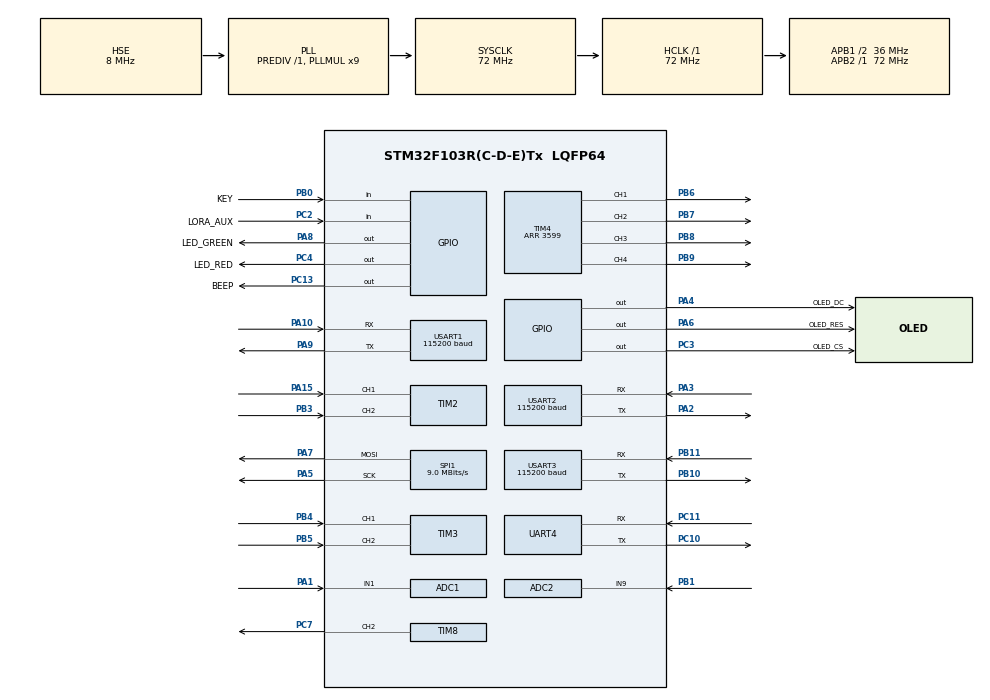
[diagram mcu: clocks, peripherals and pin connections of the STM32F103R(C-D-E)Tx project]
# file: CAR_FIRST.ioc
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ADC1.Channel-0\#ChannelRegularConversion=ADC_CHANNEL_1
ADC1.NbrOfConversionFlag=1
ADC1.Rank-0\#ChannelRegularConversion=1
ADC1.SamplingTime-0\#ChannelRegularConversion=ADC_SAMPLETIME_239CYCLES_5
ADC1.master=1
ADC2.Channel-0\#ChannelRegularConversion=ADC_CHANNEL_9
ADC2.NbrOfConversionFlag=1
ADC2.Rank-0\#ChannelRegularConversion=1
ADC2.SamplingTime-0\#ChannelRegularConversion=ADC_SAMPLETIME_239CYCLES_5
FREERTOS.Tasks01=defaultTask,24,128,StartDefaultTask,Default,NULL,Dynamic,NULL,NULL
FREERTOS.configMAX_PRIORITIES=56
FREERTOS.configTOTAL_HEAP_SIZE=20480
Mcu.Family=STM32F1
Mcu.Name=STM32F103R(C-D-E)Tx
Mcu.Package=LQFP64
NVIC.PriorityGroup=NVIC_PRIORITYGROUP_4
NVIC.TIM6_IRQn=true\:15\:0\:false\:false\:true\:false\:false\:true\:true
NVIC.TimeBase=TIM6_IRQn
NVIC.TimeBaseIP=TIM6
NVIC.UART4_IRQn=true\:5\:0\:false\:false\:true\:true\:true\:true\:true
NVIC.USART1_IRQn=true\:5\:0\:false\:false\:true\:true\:true\:true\:true
NVIC.USART2_IRQn=true\:5\:0\:false\:false\:true\:true\:true\:true\:true
NVIC.USART3_IRQn=true\:5\:0\:false\:false\:true\:true\:true\:true\:true
PA1.Signal=ADCx_IN1
PA10.Mode=Asynchronous
PA10.Signal=USART1_RX
PA13.Mode=Serial_Wire
PA13.Signal=SYS_JTMS-SWDIO
PA14.Mode=Serial_Wire
PA14.Signal=SYS_JTCK-SWCLK
PA15.Signal=S_TIM2_CH1_ETR
PA2.Mode=Asynchronous
PA2.Signal=USART2_TX
PA3.Mode=Asynchronous
PA3.Signal=USART2_RX
PA4.GPIO_Label=OLED_DC
PA4.Signal=GPIO_Output
PA5.Mode=TX_Only_Simplex_Unidirect_Master
PA5.Signal=SPI1_SCK
PA6.GPIO_Label=OLED_RES
PA6.Signal=GPIO_Output
PA7.Mode=TX_Only_Simplex_Unidirect_Master
PA7.Signal=SPI1_MOSI
PA8.GPIO_Label=LED_GREEN
PA8.Signal=GPIO_Output
PA9.Mode=Asynchronous
PA9.Signal=USART1_TX
PB0.GPIO_Label=KEY
PB0.GPIO_PuPd=GPIO_PULLUP
PB0.Signal=GPIO_Input
PB1.Signal=ADCx_IN9
PB10.Mode=Asynchronous
PB10.Signal=USART3_TX
PB11.Mode=Asynchronous
PB11.Signal=USART3_RX
PB3.Signal=S_TIM2_CH2
PB4.Signal=S_TIM3_CH1
PB5.Signal=S_TIM3_CH2
PB6.Signal=S_TIM4_CH1
PB7.Signal=S_TIM4_CH2
PB8.Signal=S_TIM4_CH3
PB9.Signal=S_TIM4_CH4
PC10.Mode=Asynchronous
PC10.Signal=UART4_TX
PC11.Mode=Asynchronous
PC11.Signal=UART4_RX
PC13-TAMPER-RTC.GPIO_Label=BEEP
PC13-TAMPER-RTC.Signal=GPIO_Output
PC2.GPIO_Label=LORA_AUX
PC2.GPIO_PuPd=GPIO_PULLUP
PC2.Signal=GPIO_Input
PC3.GPIO_Label=OLED_CS
PC3.Signal=GPIO_Output
PC4.GPIO_Label=LED_RED
PC4.Signal=GPIO_Output
PC7.Signal=S_TIM8_CH2
PD0-OSC_IN.Mode=HSE-External-Oscillator
PD0-OSC_IN.Signal=RCC_OSC_IN
PD1-OSC_OUT.Mode=HSE-External-Oscillator
PD1-OSC_OUT.Signal=RCC_OSC_OUT
ProjectManager.HeapSize=0x200
ProjectManager.StackSize=0x400
ProjectManager.TargetToolchain=CMake
RCC.ADCPresc=RCC_ADCPCLK2_DIV6
RCC.AHBFreq_Value=72000000
RCC.APB1CLKDivider=RCC_HCLK_DIV2
RCC.APB1Freq_Value=36000000
RCC.APB1TimFreq_Value=72000000
RCC.APB2Freq_Value=72000000
RCC.APB2TimFreq_Value=72000000
RCC.HCLKFreq_Value=72000000
RCC.PLLMUL=RCC_PLL_MUL9
RCC.PLLSourceVirtual=RCC_PLLSOURCE_HSE
RCC.SYSCLKFreq_VALUE=72000000
RCC.SYSCLKSource=RCC_SYSCLKSOURCE_PLLCLK
RCC.USBFreq_Value=72000000
SH.ADCx_IN1.0=ADC1_IN1,IN1
SH.ADCx_IN9.0=ADC2_IN9,IN9
SH.S_TIM2_CH1_ETR.0=TIM2_CH1,Encoder_Interface
SH.S_TIM2_CH2.0=TIM2_CH2,Encoder_Interface
SH.S_TIM3_CH1.0=TIM3_CH1,Encoder_Interface
SH.S_TIM3_CH2.0=TIM3_CH2,Encoder_Interface
SH.S_TIM4_CH1.0=TIM4_CH1,PWM Generation1 CH1
SH.S_TIM4_CH2.0=TIM4_CH2,PWM Generation2 CH2
SH.S_TIM4_CH3.0=TIM4_CH3,PWM Generation3 CH3
SH.S_TIM4_CH4.0=TIM4_CH4,PWM Generation4 CH4
SH.S_TIM8_CH2.0=TIM8_CH2,PWM Generation2 CH2
SPI1.BaudRatePrescaler=SPI_BAUDRATEPRESCALER_8
SPI1.CLKPhase=SPI_PHASE_2EDGE
SPI1.CLKPolarity=SPI_POLARITY_HIGH
SPI1.CalculateBaudRate=9.0 MBits/s
SPI1.Direction=SPI_DIRECTION_2LINES
SPI1.Mode=SPI_MODE_MASTER
SPI1.VirtualType=VM_MASTER
TIM2.EncoderMode=TIM_ENCODERMODE_TI12
TIM3.EncoderMode=TIM_ENCODERMODE_TI12
TIM4.AutoReloadPreload=TIM_AUTORELOAD_PRELOAD_ENABLE
TIM4.Channel-PWM\ Generation1\ CH1=TIM_CHANNEL_1
TIM4.Channel-PWM\ Generation2\ CH2=TIM_CHANNEL_2
TIM4.Channel-PWM\ Generation3\ CH3=TIM_CHANNEL_3
TIM4.Channel-PWM\ Generation4\ CH4=TIM_CHANNEL_4
TIM4.Period=3599
TIM4.Pulse-PWM\ Generation1\ CH1=0
TIM4.Pulse-PWM\ Generation2\ CH2=0
TIM4.Pulse-PWM\ Generation3\ CH3=0
TIM4.Pulse-PWM\ Generation4\ CH4=0
TIM8.Channel-PWM\ Generation2\ CH2=TIM_CHANNEL_2
TIM8.Period=19999
TIM8.Prescaler=71
TIM8.Pulse-PWM\ Generation2\ CH2=1500
UART4.VirtualMode=Asynchronous
USART1.BaudRate=115200
USART1.VirtualMode=VM_ASYNC
USART2.BaudRate=115200
USART2.VirtualMode=VM_ASYNC
USART3.BaudRate=115200
USART3.VirtualMode=VM_ASYNC
VP_FREERTOS_VS_CMSIS_V2.Mode=CMSIS_V2
VP_SYS_VS_tim6.Mode=TIM6
VP_TIM4_VS_ClockSourceINT.Mode=Internal
board=custom

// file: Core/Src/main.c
/* USER CODE BEGIN Header */
/**
  * 中文说明：本段为工程生成代码说明。
  */
/* USER CODE END Header */
/* 包含文件 ------------------------------------------------------------------*/
#include "main.h"
#include "cmsis_os.h"
#include "adc.h"
#include "spi.h"
#include "tim.h"
#include "usart.h"
#include "gpio.h"

/* 私有包含文件 --------------------------------------------------------------*/
/* USER CODE BEGIN Includes */
#include "ax_beep.h"
#include "ax_delay.h"
#include "ax_encoder.h"
#include "ax_key.h"
#include "ax_led.h"
#include "ax_motor.h"
#include "ax_servo.h"
#include "ax_vin.h"

/* USER CODE END Includes */

/* 私有类型定义 --------------------------------------------------------------*/

/* 私有宏定义 ----------------------------------------------------------------*/

/* 私有宏 --------------------------------------------------------------------*/

/* 私有变量 ------------------------------------------------------------------*/

/* 私有函数声明 --------------------------------------------------------------*/
void SystemClock_Config(void);
void MX_FREERTOS_Init(void);

/* 私有用户代码 --------------------------------------------------------------*/

/**
  * 中文说明：本段为工程生成代码说明。
  */
int main(void)
{

  /* MCU 配置 ------------------------------------------------------------------*/

  /* 复位所有外设，初始化 Flash 接口和 SysTick。 */
  HAL_Init();

  /* 配置系统时钟 */
  SystemClock_Config();

  /* 初始化所有已配置外设 */
  MX_GPIO_Init();
  MX_ADC1_Init();
  MX_ADC2_Init();
  MX_SPI1_Init();
  MX_TIM2_Init();
  MX_TIM3_Init();
  MX_TIM4_Init();
  MX_TIM8_Init();
  MX_UART4_Init();
  MX_USART1_UART_Init();
  MX_USART2_UART_Init();
  MX_USART3_UART_Init();
  /* USER CODE BEGIN 2 */
  AX_DELAY_Init();
  AX_LED_Init();
  AX_BEEP_Init();
  AX_KEY_Init();
  AX_MOTOR_Init();
  AX_SERVO_Init();
  AX_ENCODER_A_Init();
  AX_ENCODER_B_Init();
  AX_VIN_Init();

  /* USER CODE END 2 */

  /* 初始化调度器 */
  osKernelInitialize();  /* Call 初始化函数 for freertos objects (in cmsis_os2.c) */
  MX_FREERTOS_Init();

  /* 启动调度器 */
  osKernelStart();

  /* 调度器接管后不应执行到这里 */

  /* 无限循环 */
  while (1)
  {

  }
}

/**
  * 中文说明：本段为工程生成代码说明。
  */
void SystemClock_Config(void)
{
  RCC_OscInitTypeDef RCC_OscInitStruct = {0};
  RCC_ClkInitTypeDef RCC_ClkInitStruct = {0};
  RCC_PeriphCLKInitTypeDef PeriphClkInit = {0};

  /**
  * 中文说明：本段为工程生成代码说明。
  */
  RCC_OscInitStruct.OscillatorType = RCC_OSCILLATORTYPE_HSE;
  RCC_OscInitStruct.HSEState = RCC_HSE_ON;
  RCC_OscInitStruct.HSEPredivValue = RCC_HSE_PREDIV_DIV1;
  RCC_OscInitStruct.HSIState = RCC_HSI_ON;
  RCC_OscInitStruct.PLL.PLLState = RCC_PLL_ON;
  RCC_OscInitStruct.PLL.PLLSource = RCC_PLLSOURCE_HSE;
  RCC_OscInitStruct.PLL.PLLMUL = RCC_PLL_MUL9;
  if (HAL_RCC_OscConfig(&RCC_OscInitStruct) != HAL_OK)
  {
    Error_Handler();
  }

  /**
  * 中文说明：本段为工程生成代码说明。
  */
  RCC_ClkInitStruct.ClockType = RCC_CLOCKTYPE_HCLK|RCC_CLOCKTYPE_SYSCLK
                              |RCC_CLOCKTYPE_PCLK1|RCC_CLOCKTYPE_PCLK2;
  RCC_ClkInitStruct.SYSCLKSource = RCC_SYSCLKSOURCE_PLLCLK;
  RCC_ClkInitStruct.AHBCLKDivider = RCC_SYSCLK_DIV1;
  RCC_ClkInitStruct.APB1CLKDivider = RCC_HCLK_DIV2;
  RCC_ClkInitStruct.APB2CLKDivider = RCC_HCLK_DIV1;

  if (HAL_RCC_ClockConfig(&RCC_ClkInitStruct, FLASH_LATENCY_2) != HAL_OK)
  {
    Error_Handler();
  }
  PeriphClkInit.PeriphClockSelection = RCC_PERIPHCLK_ADC;
  PeriphClkInit.AdcClockSelection = RCC_ADCPCLK2_DIV6;
  if (HAL_RCCEx_PeriphCLKConfig(&PeriphClkInit) != HAL_OK)
  {
    Error_Handler();
  }
}

/**
  * 中文说明：本段为工程生成代码说明。
  */
void HAL_TIM_PeriodElapsedCallback(TIM_HandleTypeDef *htim)
{
  if (htim->Instance == TIM6)
  {
    HAL_IncTick();
  }
}

/**
  * 中文说明：本段为工程生成代码说明。
  */
void Error_Handler(void)
{
  /* USER CODE BEGIN Error_Handler_Debug */
  /* 用户可在此添加 HAL 错误状态上报逻辑 */
  __disable_irq();
  while (1)
  {
  }
  /* USER CODE END Error_Handler_Debug */
}
#ifdef USE_FULL_ASSERT
/**
  * 中文说明：本段为工程生成代码说明。
  */
void assert_failed(uint8_t *file, uint32_t line)
{
  /* USER CODE BEGIN 6 */
  /* 用户可在此添加文件名和行号上报逻辑，
     例如打印参数错误所在的文件和行号。 */
  /* USER CODE END 6 */
}
#endif /* USE_FULL_ASSERT */

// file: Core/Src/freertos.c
/* USER CODE BEGIN Header */
/**
  ******************************************************************************
  * File Name          : freertos.c
  * Description        : Code for freertos applications
  ******************************************************************************
  * @attention
  *
  * Copyright (c) 2026 STMicroelectronics.
  * All rights reserved.
  *
  * This software is licensed under terms that can be found in the LICENSE file
  * in the root directory of this software component.
  * If no LICENSE file comes with this software, it is provided AS-IS.
  *
  ******************************************************************************
  */
/* USER CODE END Header */

#include "FreeRTOS.h"
#include "task.h"
#include "main.h"
#include "cmsis_os.h"

/* USER CODE BEGIN Includes */
#include "app_state.h"
#include "ax_robot.h"

/* USER CODE END Includes */

/* Definitions for defaultTask */
osThreadId_t defaultTaskHandle;
const osThreadAttr_t defaultTask_attributes = {
  .name = "defaultTask",
  .stack_size = 128 * 4,
  .priority = (osPriority_t) osPriorityNormal,
};
/* Definitions for robotTask */
osThreadId_t robotTaskHandle;
const osThreadAttr_t robotTask_attributes = {
  .name = "robotTask",
  .stack_size = 256 * 4,
  .priority = (osPriority_t) osPriorityNormal,
};
/* Definitions for appTask */
osThreadId_t appTaskHandle;
const osThreadAttr_t appTask_attributes = {
  .name = "appTask",
  .stack_size = 512 * 4,
  .priority = (osPriority_t) osPriorityBelowNormal,
};

void StartDefaultTask(void *argument);

void MX_FREERTOS_Init(void); /* (MISRA C 2004 rule 8.1) */

void MX_FREERTOS_Init(void) {

  /* Create the thread(s) */
  /* creation of defaultTask */
  defaultTaskHandle = osThreadNew(StartDefaultTask, NULL, &defaultTask_attributes);

  /* USER CODE BEGIN RTOS_THREADS */
  robotTaskHandle = osThreadNew(Robot_Task, NULL, &robotTask_attributes);
  appTaskHandle = osThreadNew(AppState_Task, NULL, &appTask_attributes);
  /* USER CODE END RTOS_THREADS */

}

void StartDefaultTask(void *argument)
{
  for(;;)
  {
    osDelay(1);
  }
}
